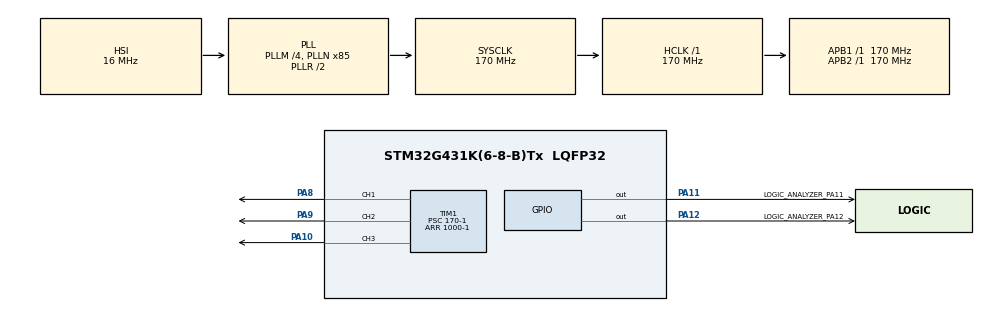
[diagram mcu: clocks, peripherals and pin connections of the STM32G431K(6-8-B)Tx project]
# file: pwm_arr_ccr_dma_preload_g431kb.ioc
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Dma.Request0=TIM1_CH1
Dma.Request1=TIM1_CH2
Dma.Request2=TIM1_CH3
Dma.Request3=TIM1_UP
Dma.TIM1_CH1.0.Direction=DMA_MEMORY_TO_PERIPH
Dma.TIM1_CH1.0.EventEnable=DISABLE
Dma.TIM1_CH1.0.Instance=DMA1_Channel1
Dma.TIM1_CH1.0.MemDataAlignment=DMA_MDATAALIGN_HALFWORD
Dma.TIM1_CH1.0.MemInc=DMA_MINC_ENABLE
Dma.TIM1_CH1.0.Mode=DMA_NORMAL
Dma.TIM1_CH1.0.PeriphDataAlignment=DMA_PDATAALIGN_HALFWORD
Dma.TIM1_CH1.0.PeriphInc=DMA_PINC_DISABLE
Dma.TIM1_CH1.0.Polarity=HAL_DMAMUX_REQ_GEN_RISING
Dma.TIM1_CH1.0.Priority=DMA_PRIORITY_LOW
Dma.TIM1_CH1.0.RequestNumber=1
Dma.TIM1_CH1.0.SignalID=NONE
Dma.TIM1_CH1.0.SyncEnable=DISABLE
Dma.TIM1_CH1.0.SyncPolarity=HAL_DMAMUX_SYNC_NO_EVENT
Dma.TIM1_CH1.0.SyncRequestNumber=1
Dma.TIM1_CH1.0.SyncSignalID=NONE
Dma.TIM1_CH2.1.Direction=DMA_MEMORY_TO_PERIPH
Dma.TIM1_CH2.1.EventEnable=DISABLE
Dma.TIM1_CH2.1.Instance=DMA1_Channel2
Dma.TIM1_CH2.1.MemDataAlignment=DMA_MDATAALIGN_HALFWORD
Dma.TIM1_CH2.1.MemInc=DMA_MINC_ENABLE
Dma.TIM1_CH2.1.Mode=DMA_NORMAL
Dma.TIM1_CH2.1.PeriphDataAlignment=DMA_PDATAALIGN_HALFWORD
Dma.TIM1_CH2.1.PeriphInc=DMA_PINC_DISABLE
Dma.TIM1_CH2.1.Polarity=HAL_DMAMUX_REQ_GEN_RISING
Dma.TIM1_CH2.1.Priority=DMA_PRIORITY_LOW
Dma.TIM1_CH2.1.RequestNumber=1
Dma.TIM1_CH2.1.SignalID=NONE
Dma.TIM1_CH2.1.SyncEnable=DISABLE
Dma.TIM1_CH2.1.SyncPolarity=HAL_DMAMUX_SYNC_NO_EVENT
Dma.TIM1_CH2.1.SyncRequestNumber=1
Dma.TIM1_CH2.1.SyncSignalID=NONE
Dma.TIM1_CH3.2.Direction=DMA_MEMORY_TO_PERIPH
Dma.TIM1_CH3.2.EventEnable=DISABLE
Dma.TIM1_CH3.2.Instance=DMA1_Channel3
Dma.TIM1_CH3.2.MemDataAlignment=DMA_MDATAALIGN_HALFWORD
Dma.TIM1_CH3.2.MemInc=DMA_MINC_ENABLE
Dma.TIM1_CH3.2.Mode=DMA_NORMAL
Dma.TIM1_CH3.2.PeriphDataAlignment=DMA_PDATAALIGN_HALFWORD
Dma.TIM1_CH3.2.PeriphInc=DMA_PINC_DISABLE
Dma.TIM1_CH3.2.Polarity=HAL_DMAMUX_REQ_GEN_RISING
Dma.TIM1_CH3.2.Priority=DMA_PRIORITY_LOW
Dma.TIM1_CH3.2.RequestNumber=1
Dma.TIM1_CH3.2.SignalID=NONE
Dma.TIM1_CH3.2.SyncEnable=DISABLE
Dma.TIM1_CH3.2.SyncPolarity=HAL_DMAMUX_SYNC_NO_EVENT
Dma.TIM1_CH3.2.SyncRequestNumber=1
Dma.TIM1_CH3.2.SyncSignalID=NONE
Dma.TIM1_UP.3.Direction=DMA_MEMORY_TO_PERIPH
Dma.TIM1_UP.3.EventEnable=DISABLE
Dma.TIM1_UP.3.Instance=DMA1_Channel4
Dma.TIM1_UP.3.MemDataAlignment=DMA_MDATAALIGN_HALFWORD
Dma.TIM1_UP.3.MemInc=DMA_MINC_ENABLE
Dma.TIM1_UP.3.Mode=DMA_NORMAL
Dma.TIM1_UP.3.PeriphDataAlignment=DMA_PDATAALIGN_HALFWORD
Dma.TIM1_UP.3.PeriphInc=DMA_PINC_DISABLE
Dma.TIM1_UP.3.Polarity=HAL_DMAMUX_REQ_GEN_RISING
Dma.TIM1_UP.3.Priority=DMA_PRIORITY_LOW
Dma.TIM1_UP.3.RequestNumber=1
Dma.TIM1_UP.3.SignalID=NONE
Dma.TIM1_UP.3.SyncEnable=DISABLE
Dma.TIM1_UP.3.SyncPolarity=HAL_DMAMUX_SYNC_NO_EVENT
Dma.TIM1_UP.3.SyncRequestNumber=1
Dma.TIM1_UP.3.SyncSignalID=NONE
Mcu.Family=STM32G4
Mcu.Name=STM32G431K(6-8-B)Tx
Mcu.Package=LQFP32
NUCLEO-G431KB.Bsp_Common_DEMO=true
NUCLEO-G431KB.VCP=true
NVIC.DMA1_Channel1_IRQn=true\:0\:0\:false\:false\:true\:false\:true\:true
NVIC.DMA1_Channel2_IRQn=true\:0\:0\:false\:false\:true\:false\:true\:true
NVIC.DMA1_Channel3_IRQn=true\:0\:0\:false\:false\:true\:false\:true\:true
NVIC.DMA1_Channel4_IRQn=true\:0\:0\:false\:false\:true\:false\:true\:true
NVIC.PriorityGroup=NVIC_PRIORITYGROUP_4
NVIC.TIM1_BRK_TIM15_IRQn=true\:0\:0\:false\:false\:true\:true\:true\:true
NVIC.TIM1_CC_IRQn=true\:0\:0\:false\:false\:true\:true\:true\:true
NVIC.TIM1_UP_TIM16_IRQn=true\:0\:0\:false\:false\:true\:true\:true\:true
PA10.Signal=S_TIM1_CH3
PA11.GPIO_Label=LOGIC_ANALYZER_PA11
PA11.Signal=GPIO_Output
PA12.GPIO_Label=LOGIC_ANALYZER_PA12
PA12.Signal=GPIO_Output
PA13.GPIO_Label=T_SWDIO
PA13.Signal=SYS_JTMS-SWDIO
PA14.GPIO_Label=T_SWCLK
PA14.Signal=SYS_JTCK-SWCLK
PA2.Signal=USART2_TX
PA3.Signal=USART2_RX
PA8.Signal=S_TIM1_CH1
PA9.Signal=S_TIM1_CH2
PB3.GPIO_Label=T_SWO
PB3.Signal=SYS_JTDO-SWO
ProjectManager.HeapSize=0x200
ProjectManager.StackSize=0x400
ProjectManager.TargetToolchain=CMake
RCC.ADC12Freq_Value=170000000
RCC.AHBFreq_Value=170000000
RCC.APB1Freq_Value=170000000
RCC.APB1TimFreq_Value=170000000
RCC.APB2Freq_Value=170000000
RCC.APB2TimFreq_Value=170000000
RCC.CortexFreq_Value=170000000
RCC.EXTERNAL_CLOCK_VALUE=12288000
RCC.HCLKFreq_Value=170000000
RCC.HSE_VALUE=8000000
RCC.HSI48_VALUE=48000000
RCC.HSI_VALUE=16000000
RCC.LSE_VALUE=32768
RCC.PLLM=RCC_PLLM_DIV4
RCC.PLLN=85
RCC.SYSCLKFreq_VALUE=170000000
RCC.SYSCLKSource=RCC_SYSCLKSOURCE_PLLCLK
RCC.USBFreq_Value=170000000
RCC.VCOOutputFreq_Value=340000000
SH.S_TIM1_CH1.0=TIM1_CH1,PWM Generation1 CH1
SH.S_TIM1_CH2.0=TIM1_CH2,PWM Generation2 CH2
SH.S_TIM1_CH3.0=TIM1_CH3,PWM Generation3 CH3
TIM1.AutoReloadPreload=TIM_AUTORELOAD_PRELOAD_ENABLE
TIM1.Channel-PWM\ Generation1\ CH1=TIM_CHANNEL_1
TIM1.Channel-PWM\ Generation2\ CH2=TIM_CHANNEL_2
TIM1.Channel-PWM\ Generation3\ CH3=TIM_CHANNEL_3
TIM1.CounterMode=TIM_COUNTERMODE_CENTERALIGNED3
TIM1.OC2Preload_PWM=ENABLE
TIM1.OCIdleState_3=TIM_OCIDLESTATE_RESET
TIM1.OCMode_PWM-PWM\ Generation1\ CH1=TIM_OCMODE_PWM1
TIM1.OCMode_PWM-PWM\ Generation2\ CH2=TIM_OCMODE_PWM1
TIM1.OCMode_PWM-PWM\ Generation3\ CH3=TIM_OCMODE_PWM1
TIM1.PeriodNoDither=1000-1
TIM1.Prescaler=170-1
TIM1.PulseNoDither_1=0
TIM1.PulseNoDither_2=0
TIM1.PulseNoDither_3=0
TIM1.TIM_MasterOutputTrigger=TIM_TRGO_RESET
VP_NUCLEO-G431KB_VS_BSP_COMMON.Mode=COMMON
VP_SYS_VS_DBSignals.Mode=DisableDeadBatterySignals
VP_TIM1_VS_ClockSourceINT.Mode=Internal
board=NUCLEO-G431KB

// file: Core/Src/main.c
/* USER CODE BEGIN Header */
/**
 ******************************************************************************
 * @file           : main.c
 * @brief          : Main program body
 ******************************************************************************
 * @attention
 *
 * Copyright (c) 2026 STMicroelectronics.
 * All rights reserved.
 *
 * This software is licensed under terms that can be found in the LICENSE file
 * in the root directory of this software component.
 * If no LICENSE file comes with this software, it is provided AS-IS.
 *
 ******************************************************************************
 */
/* USER CODE END Header */
#include "main.h"
#include "dma.h"
#include "gpio.h"
#include "tim.h"

/* USER CODE BEGIN PD */

#define PWM_PAYLOAD_SIZE 8

/* USER CODE END PD */

COM_InitTypeDef BspCOMInit;

/* USER CODE BEGIN PV */

// center-aligned mode generates two update events per PWM period
uint16_t pwm_arr[PWM_PAYLOAD_SIZE] = {1000 - 1, 1000 - 1, 500 - 1,  500 - 1,
                                      1000 - 1, 1000 - 1, 1000 - 1, 1000 - 1};
uint16_t pwm_ch1_ccr[PWM_PAYLOAD_SIZE] = {100 - 1, 100 - 1, 200 - 1,  200 - 1,
                                          300 - 1, 300 - 1, 1000 - 1, 1000 - 1};
uint16_t pwm_ch2_ccr[PWM_PAYLOAD_SIZE] = {300 - 1, 300 - 1, 200 - 1,  200 - 1,
                                          100 - 1, 100 - 1, 1000 - 1, 1000 - 1};
uint16_t pwm_ch3_ccr[PWM_PAYLOAD_SIZE] = {500 - 1, 500 - 1, 200 - 1,  200 - 1,
                                          400 - 1, 400 - 1, 1000 - 1, 1000 - 1};

HAL_StatusTypeDef hal_status; // for debugging

/* USER CODE END PV */

void SystemClock_Config(void);
/* USER CODE BEGIN PFP */

// note removed __HAL_TIM_ENABLE(htim);
HAL_StatusTypeDef HAL_TIM_Base_Start_DMA_BU(TIM_HandleTypeDef *htim,
                                            const uint32_t *pData,
                                            uint16_t Length);

HAL_StatusTypeDef HAL_TIM_PWM_Start_DMA_BU(TIM_HandleTypeDef *htim,
                                           uint32_t Channel,
                                           const uint32_t *pData,
                                           uint16_t Length);

/* USER CODE END PFP */

int main(void) {

  /* MCU Configuration--------------------------------------------------------*/

  /* Reset of all peripherals, Initializes the Flash interface and the Systick.
   */
  HAL_Init();

  /* Configure the system clock */
  SystemClock_Config();

  /* Initialize all configured peripherals */
  MX_GPIO_Init();
  MX_DMA_Init();
  MX_TIM1_Init();
  /* USER CODE BEGIN 2 */

  // start DMA without starting TIM
  hal_status =
      HAL_TIM_Base_Start_DMA_BU(&htim1, (uint32_t *)pwm_arr, PWM_PAYLOAD_SIZE);
  TIM1->EGR = TIM_EGR_UG; // / DMA writes to ARR working register
  while (!((TIM1->SR) & TIM_SR_UIF)) {
    __NOP();
  }

  hal_status = HAL_TIM_PWM_Start_DMA_BU(
      &htim1, TIM_CHANNEL_1, (uint32_t *)pwm_ch1_ccr, PWM_PAYLOAD_SIZE);
  hal_status = HAL_TIM_PWM_Start_DMA_BU(
      &htim1, TIM_CHANNEL_2, (uint32_t *)pwm_ch2_ccr, PWM_PAYLOAD_SIZE);
  hal_status = HAL_TIM_PWM_Start_DMA_BU(
      &htim1, TIM_CHANNEL_3, (uint32_t *)pwm_ch3_ccr, PWM_PAYLOAD_SIZE);

  TIM1->EGR = TIM_EGR_CC1G; // DMA writes to CCR1 working register
  while (!((TIM1->SR) & TIM_SR_CC1IF)) {
    __NOP();
  }

  TIM1->EGR = TIM_EGR_CC2G; // DMA writes to CCR2 working register
  while (!((TIM1->SR) & TIM_SR_CC2IF)) {
    __NOP();
  }

  TIM1->EGR = TIM_EGR_CC3G; // DMA writes to CCR3 working register
  while (!((TIM1->SR) & TIM_SR_CC3IF)) {
    __NOP();
  }

  TIM1->EGR =
      TIM_EGR_UG; // TIM copies working (preload) registers to shadow registers
  while (!((TIM1->SR) & TIM_SR_UIF)) {
    __NOP();
  }

  HAL_GPIO_WritePin(LOGIC_ANALYZER_PA11_GPIO_Port, LOGIC_ANALYZER_PA11_Pin,
                    GPIO_PIN_SET);
  HAL_Delay(2); // just to illustrate that signals are not yet generated
  __HAL_TIM_ENABLE(&htim1);

  /* USER CODE END 2 */

  /* Initialize COM1 port (115200, 8 bits (7-bit data + 1 stop bit), no parity
   */
  BspCOMInit.BaudRate = 115200;
  BspCOMInit.WordLength = COM_WORDLENGTH_8B;
  BspCOMInit.StopBits = COM_STOPBITS_1;
  BspCOMInit.Parity = COM_PARITY_NONE;
  BspCOMInit.HwFlowCtl = COM_HWCONTROL_NONE;
  if (BSP_COM_Init(COM1, &BspCOMInit) != BSP_ERROR_NONE) {
    Error_Handler();
  }

  /* USER CODE BEGIN BSP */

  /* -- Sample board code to send message over COM1 port ---- */
  printf("\r\nWelcome to STM32 TIM DMA preload world!\r\n");

  /* USER CODE END BSP */

  /* Infinite loop */
  /* USER CODE BEGIN WHILE */
  while (1) {
    __NOP();
    /* USER CODE END WHILE */

  }
}

void SystemClock_Config(void) {
  RCC_OscInitTypeDef RCC_OscInitStruct = {0};
  RCC_ClkInitTypeDef RCC_ClkInitStruct = {0};

  /** Configure the main internal regulator output voltage
   */
  HAL_PWREx_ControlVoltageScaling(PWR_REGULATOR_VOLTAGE_SCALE1_BOOST);

  /** Initializes the RCC Oscillators according to the specified parameters
   * in the RCC_OscInitTypeDef structure.
   */
  RCC_OscInitStruct.OscillatorType = RCC_OSCILLATORTYPE_HSI;
  RCC_OscInitStruct.HSIState = RCC_HSI_ON;
  RCC_OscInitStruct.HSICalibrationValue = RCC_HSICALIBRATION_DEFAULT;
  RCC_OscInitStruct.PLL.PLLState = RCC_PLL_ON;
  RCC_OscInitStruct.PLL.PLLSource = RCC_PLLSOURCE_HSI;
  RCC_OscInitStruct.PLL.PLLM = RCC_PLLM_DIV4;
  RCC_OscInitStruct.PLL.PLLN = 85;
  RCC_OscInitStruct.PLL.PLLP = RCC_PLLP_DIV2;
  RCC_OscInitStruct.PLL.PLLQ = RCC_PLLQ_DIV2;
  RCC_OscInitStruct.PLL.PLLR = RCC_PLLR_DIV2;
  if (HAL_RCC_OscConfig(&RCC_OscInitStruct) != HAL_OK) {
    Error_Handler();
  }

  /** Initializes the CPU, AHB and APB buses clocks
   */
  RCC_ClkInitStruct.ClockType = RCC_CLOCKTYPE_HCLK | RCC_CLOCKTYPE_SYSCLK |
                                RCC_CLOCKTYPE_PCLK1 | RCC_CLOCKTYPE_PCLK2;
  RCC_ClkInitStruct.SYSCLKSource = RCC_SYSCLKSOURCE_PLLCLK;
  RCC_ClkInitStruct.AHBCLKDivider = RCC_SYSCLK_DIV1;
  RCC_ClkInitStruct.APB1CLKDivider = RCC_HCLK_DIV1;
  RCC_ClkInitStruct.APB2CLKDivider = RCC_HCLK_DIV1;

  if (HAL_RCC_ClockConfig(&RCC_ClkInitStruct, FLASH_LATENCY_4) != HAL_OK) {
    Error_Handler();
  }
}

/* USER CODE BEGIN 4 */

void HAL_TIM_PWM_PulseFinishedCallback(TIM_HandleTypeDef *htim) {
  if ((htim->Instance == TIM1) && (htim->Channel == HAL_TIM_ACTIVE_CHANNEL_1)) {
    HAL_GPIO_TogglePin(LOGIC_ANALYZER_PA11_GPIO_Port, LOGIC_ANALYZER_PA11_Pin);
  }
}

#if (0) // added to stm32g4xx_hal_tim.h

HAL_StatusTypeDef HAL_TIM_Base_Start_DMA_BU(TIM_HandleTypeDef *htim,
                                            const uint32_t *pData,
                                            uint16_t Length) {
  uint32_t tmpsmcr;

  /* Check the parameters */
  assert_param(IS_TIM_DMA_INSTANCE(htim->Instance));

  /* Set the TIM state */
  if (htim->State == HAL_TIM_STATE_BUSY) {
    return HAL_BUSY;
  } else if (htim->State == HAL_TIM_STATE_READY) {
    if ((pData == NULL) || (Length == 0U)) {
      return HAL_ERROR;
    } else {
      htim->State = HAL_TIM_STATE_BUSY;
    }
  } else {
    return HAL_ERROR;
  }

  /* Set the DMA Period elapsed callbacks */
  htim->hdma[TIM_DMA_ID_UPDATE]->XferCpltCallback = TIM_DMAPeriodElapsedCplt;
  htim->hdma[TIM_DMA_ID_UPDATE]->XferHalfCpltCallback =
      TIM_DMAPeriodElapsedHalfCplt;

  /* Set the DMA error callback */
  htim->hdma[TIM_DMA_ID_UPDATE]->XferErrorCallback = TIM_DMAError;

  /* Enable the DMA channel */
  if (HAL_DMA_Start_IT(htim->hdma[TIM_DMA_ID_UPDATE], (uint32_t)pData,
                       (uint32_t)&htim->Instance->ARR, Length) != HAL_OK) {
    /* Return error status */
    return HAL_ERROR;
  }

  /* Enable the TIM Update DMA request */
  __HAL_TIM_ENABLE_DMA(htim, TIM_DMA_UPDATE);

  /* Enable the Peripheral, except in trigger mode where enable is automatically
   * done with trigger */
  if (IS_TIM_SLAVE_INSTANCE(htim->Instance)) {
    tmpsmcr = htim->Instance->SMCR & TIM_SMCR_SMS;
    if (!IS_TIM_SLAVEMODE_TRIGGER_ENABLED(tmpsmcr)) {
      // __HAL_TIM_ENABLE(htim);
    }
  } else {
    // __HAL_TIM_ENABLE(htim);
  }

  /* Return function status */
  return HAL_OK;
}

HAL_StatusTypeDef HAL_TIM_PWM_Start_DMA_BU(TIM_HandleTypeDef *htim,
                                           uint32_t Channel,
                                           const uint32_t *pData,
                                           uint16_t Length) {
  HAL_StatusTypeDef status = HAL_OK;
  uint32_t tmpsmcr;

  /* Check the parameters */
  assert_param(IS_TIM_CCX_CHANNEL(htim->Instance, Channel));

  /* Set the TIM channel state */
  if (TIM_CHANNEL_STATE_GET(htim, Channel) == HAL_TIM_CHANNEL_STATE_BUSY) {
    return HAL_BUSY;
  } else if (TIM_CHANNEL_STATE_GET(htim, Channel) ==
             HAL_TIM_CHANNEL_STATE_READY) {
    if ((pData == NULL) || (Length == 0U)) {
      return HAL_ERROR;
    } else {
      TIM_CHANNEL_STATE_SET(htim, Channel, HAL_TIM_CHANNEL_STATE_BUSY);
    }
  } else {
    return HAL_ERROR;
  }

  switch (Channel) {
  case TIM_CHANNEL_1: {
    /* Set the DMA compare callbacks */
    htim->hdma[TIM_DMA_ID_CC1]->XferCpltCallback = TIM_DMADelayPulseCplt;
    htim->hdma[TIM_DMA_ID_CC1]->XferHalfCpltCallback =
        TIM_DMADelayPulseHalfCplt;

    /* Set the DMA error callback */
    htim->hdma[TIM_DMA_ID_CC1]->XferErrorCallback = TIM_DMAError;

    /* Enable the DMA channel */
    if (HAL_DMA_Start_IT(htim->hdma[TIM_DMA_ID_CC1], (uint32_t)pData,
                         (uint32_t)&htim->Instance->CCR1, Length) != HAL_OK) {
      /* Return error status */
      return HAL_ERROR;
    }

    /* Enable the TIM Capture/Compare 1 DMA request */
    __HAL_TIM_ENABLE_DMA(htim, TIM_DMA_CC1);
    break;
  }

  case TIM_CHANNEL_2: {
    /* Set the DMA compare callbacks */
    htim->hdma[TIM_DMA_ID_CC2]->XferCpltCallback = TIM_DMADelayPulseCplt;
    htim->hdma[TIM_DMA_ID_CC2]->XferHalfCpltCallback =
        TIM_DMADelayPulseHalfCplt;

    /* Set the DMA error callback */
    htim->hdma[TIM_DMA_ID_CC2]->XferErrorCallback = TIM_DMAError;

    /* Enable the DMA channel */
    if (HAL_DMA_Start_IT(htim->hdma[TIM_DMA_ID_CC2], (uint32_t)pData,
                         (uint32_t)&htim->Instance->CCR2, Length) != HAL_OK) {
      /* Return error status */
      return HAL_ERROR;
    }
    /* Enable the TIM Capture/Compare 2 DMA request */
    __HAL_TIM_ENABLE_DMA(htim, TIM_DMA_CC2);
    break;
  }

  case TIM_CHANNEL_3: {
    /* Set the DMA compare callbacks */
    htim->hdma[TIM_DMA_ID_CC3]->XferCpltCallback = TIM_DMADelayPulseCplt;
    htim->hdma[TIM_DMA_ID_CC3]->XferHalfCpltCallback =
        TIM_DMADelayPulseHalfCplt;

    /* Set the DMA error callback */
    htim->hdma[TIM_DMA_ID_CC3]->XferErrorCallback = TIM_DMAError;

    /* Enable the DMA channel */
    if (HAL_DMA_Start_IT(htim->hdma[TIM_DMA_ID_CC3], (uint32_t)pData,
                         (uint32_t)&htim->Instance->CCR3, Length) != HAL_OK) {
      /* Return error status */
      return HAL_ERROR;
    }
    /* Enable the TIM Output Capture/Compare 3 request */
    __HAL_TIM_ENABLE_DMA(htim, TIM_DMA_CC3);
    break;
  }

  case TIM_CHANNEL_4: {
    /* Set the DMA compare callbacks */
    htim->hdma[TIM_DMA_ID_CC4]->XferCpltCallback = TIM_DMADelayPulseCplt;
    htim->hdma[TIM_DMA_ID_CC4]->XferHalfCpltCallback =
        TIM_DMADelayPulseHalfCplt;

    /* Set the DMA error callback */
    htim->hdma[TIM_DMA_ID_CC4]->XferErrorCallback = TIM_DMAError;

    /* Enable the DMA channel */
    if (HAL_DMA_Start_IT(htim->hdma[TIM_DMA_ID_CC4], (uint32_t)pData,
                         (uint32_t)&htim->Instance->CCR4, Length) != HAL_OK) {
      /* Return error status */
      return HAL_ERROR;
    }
    /* Enable the TIM Capture/Compare 4 DMA request */
    __HAL_TIM_ENABLE_DMA(htim, TIM_DMA_CC4);
    break;
  }

  default:
    status = HAL_ERROR;
    break;
  }

  if (status == HAL_OK) {
    /* Enable the Capture compare channel */
    TIM_CCxChannelCmd(htim->Instance, Channel, TIM_CCx_ENABLE);

    if (IS_TIM_BREAK_INSTANCE(htim->Instance) != RESET) {
      /* Enable the main output */
      __HAL_TIM_MOE_ENABLE(htim);
    }

    /* Enable the Peripheral, except in trigger mode where enable is
     * automatically done with trigger */
    if (IS_TIM_SLAVE_INSTANCE(htim->Instance)) {
      tmpsmcr = htim->Instance->SMCR & TIM_SMCR_SMS;
      if (!IS_TIM_SLAVEMODE_TRIGGER_ENABLED(tmpsmcr)) {
        // __HAL_TIM_ENABLE(htim);
      }
    } else {
      // __HAL_TIM_ENABLE(htim);
    }
  }

  /* Return function status */
  return status;
}

#endif

/* USER CODE END 4 */

/* USER CODE BEGIN Header */
/**
 ******************************************************************************
 * @file           : main.c
 * @brief          : Main program body
 ******************************************************************************
 * @attention
 *
 * Copyright (c) 2026 STMicroelectronics.
 * All rights reserved.
 *
 * This software is licensed under terms that can be found in the LICENSE file
 * in the root directory of this software component.
 * If no LICENSE file comes with this software, it is provided AS-IS.
 *
 ******************************************************************************
 */
/* USER CODE END Header */

void Error_Handler(void) {
  __disable_irq();
  while (1) {
  }
}
#ifdef USE_FULL_ASSERT
/**
 * @brief  Reports the name of the source file and the source line number
 *         where the assert_param error has occurred.
 * @param  file: pointer to the source file name
 * @param  line: assert_param error line source number
 * @retval None
 */
void assert_failed(uint8_t *file, uint32_t line) {
  /* USER CODE BEGIN 6 */
  /* User can add his own implementation to report the file name and line
     number, ex: printf("Wrong parameters value: file %s on line %d\r\n", file,
     line) */
  /* USER CODE END 6 */
}
#endif /* USE_FULL_ASSERT */
